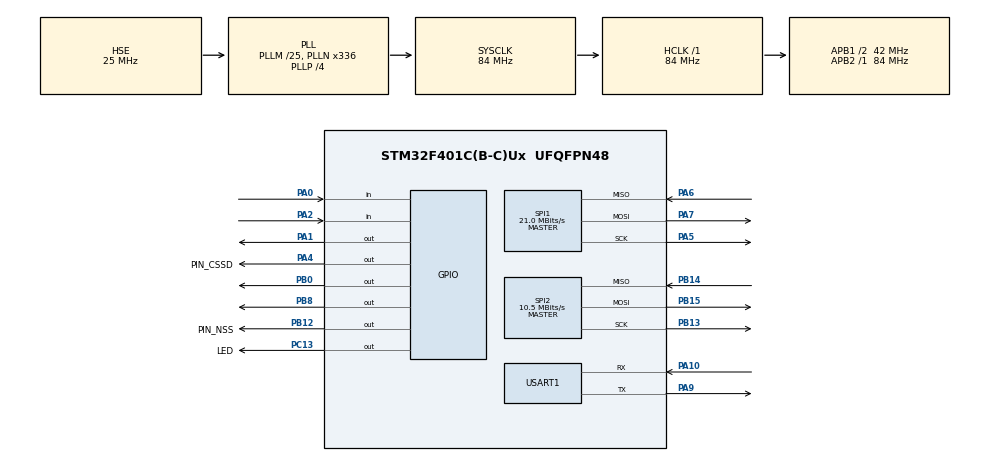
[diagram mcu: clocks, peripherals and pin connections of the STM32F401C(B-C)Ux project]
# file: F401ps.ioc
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Dma.Request0=SPI1_TX
Dma.Request1=SPI1_RX
Dma.SPI1_RX.1.Direction=DMA_PERIPH_TO_MEMORY
Dma.SPI1_RX.1.FIFOMode=DMA_FIFOMODE_DISABLE
Dma.SPI1_RX.1.Instance=DMA2_Stream0
Dma.SPI1_RX.1.MemDataAlignment=DMA_MDATAALIGN_BYTE
Dma.SPI1_RX.1.MemInc=DMA_MINC_ENABLE
Dma.SPI1_RX.1.Mode=DMA_NORMAL
Dma.SPI1_RX.1.PeriphDataAlignment=DMA_PDATAALIGN_BYTE
Dma.SPI1_RX.1.PeriphInc=DMA_PINC_DISABLE
Dma.SPI1_RX.1.Priority=DMA_PRIORITY_LOW
Dma.SPI1_TX.0.Direction=DMA_MEMORY_TO_PERIPH
Dma.SPI1_TX.0.FIFOMode=DMA_FIFOMODE_DISABLE
Dma.SPI1_TX.0.Instance=DMA2_Stream3
Dma.SPI1_TX.0.MemDataAlignment=DMA_MDATAALIGN_BYTE
Dma.SPI1_TX.0.MemInc=DMA_MINC_ENABLE
Dma.SPI1_TX.0.Mode=DMA_NORMAL
Dma.SPI1_TX.0.PeriphDataAlignment=DMA_PDATAALIGN_BYTE
Dma.SPI1_TX.0.PeriphInc=DMA_PINC_DISABLE
Dma.SPI1_TX.0.Priority=DMA_PRIORITY_LOW
FATFS._CODE_PAGE=437
FATFS._FS_TINY=1
FATFS._USE_LFN=1
FATFS._USE_STRFUNC=2
Mcu.Family=STM32F4
Mcu.Name=STM32F401C(B-C)Ux
Mcu.Package=UFQFPN48
NVIC.DMA2_Stream0_IRQn=true\:0\:0\:false\:false\:true\:false\:true
NVIC.DMA2_Stream3_IRQn=true\:0\:0\:false\:false\:true\:false\:true
NVIC.PriorityGroup=NVIC_PRIORITYGROUP_4
NVIC.SPI1_IRQn=true\:0\:0\:false\:false\:true\:true\:true
PA0-WKUP.GPIO_PuPd=GPIO_PULLUP
PA0-WKUP.Signal=GPIO_Input
PA1.GPIO_PuPd=GPIO_PULLUP
PA1.GPIO_Speed=GPIO_SPEED_FREQ_HIGH
PA1.PinState=GPIO_PIN_SET
PA1.Signal=GPIO_Output
PA10.GPIO_PuPd=GPIO_PULLUP
PA10.Mode=Asynchronous
PA10.Signal=USART1_RX
PA13.Mode=Serial_Wire
PA13.Signal=SYS_JTMS-SWDIO
PA14.Mode=Serial_Wire
PA14.Signal=SYS_JTCK-SWCLK
PA2.GPIO_PuPd=GPIO_PULLUP
PA2.Signal=GPIO_Input
PA4.GPIO_Label=PIN_CSSD
PA4.GPIO_PuPd=GPIO_PULLUP
PA4.GPIO_Speed=GPIO_SPEED_FREQ_HIGH
PA4.PinState=GPIO_PIN_SET
PA4.Signal=GPIO_Output
PA5.Mode=Full_Duplex_Master
PA5.Signal=SPI1_SCK
PA6.Mode=Full_Duplex_Master
PA6.Signal=SPI1_MISO
PA7.Mode=Full_Duplex_Master
PA7.Signal=SPI1_MOSI
PA9.GPIO_PuPd=GPIO_PULLUP
PA9.Mode=Asynchronous
PA9.Signal=USART1_TX
PB0.GPIO_Speed=GPIO_SPEED_FREQ_VERY_HIGH
PB0.PinState=GPIO_PIN_SET
PB0.Signal=GPIO_Output
PB12.GPIO_Label=PIN_NSS
PB12.GPIO_PuPd=GPIO_PULLUP
PB12.GPIO_Speed=GPIO_SPEED_FREQ_HIGH
PB12.PinState=GPIO_PIN_SET
PB12.Signal=GPIO_Output
PB13.Mode=Full_Duplex_Master
PB13.Signal=SPI2_SCK
PB14.Mode=Full_Duplex_Master
PB14.Signal=SPI2_MISO
PB15.Mode=Full_Duplex_Master
PB15.Signal=SPI2_MOSI
PB8.GPIO_PuPd=GPIO_PULLUP
PB8.GPIO_Speed=GPIO_SPEED_FREQ_VERY_HIGH
PB8.PinState=GPIO_PIN_SET
PB8.Signal=GPIO_Output
PC13-ANTI_TAMP.GPIO_Label=LED
PC13-ANTI_TAMP.Signal=GPIO_Output
PC14-OSC32_IN.Mode=LSE-External-Oscillator
PC14-OSC32_IN.Signal=RCC_OSC32_IN
PC15-OSC32_OUT.Mode=LSE-External-Oscillator
PC15-OSC32_OUT.Signal=RCC_OSC32_OUT
PH0\ -\ OSC_IN.Mode=HSE-External-Oscillator
PH0\ -\ OSC_IN.Signal=RCC_OSC_IN
PH1\ -\ OSC_OUT.Mode=HSE-External-Oscillator
PH1\ -\ OSC_OUT.Signal=RCC_OSC_OUT
ProjectManager.HeapSize=0x1000
ProjectManager.StackSize=0x1000
ProjectManager.TargetToolchain=STM32CubeIDE
RCC.48MHZClocksFreq_Value=48000000
RCC.AHBFreq_Value=84000000
RCC.APB1CLKDivider=RCC_HCLK_DIV2
RCC.APB1Freq_Value=42000000
RCC.APB1TimFreq_Value=84000000
RCC.APB2Freq_Value=84000000
RCC.APB2TimFreq_Value=84000000
RCC.CortexFreq_Value=84000000
RCC.HCLKFreq_Value=84000000
RCC.HSE_VALUE=25000000
RCC.HSI_VALUE=16000000
RCC.PLLM=25
RCC.PLLN=336
RCC.PLLP=RCC_PLLP_DIV4
RCC.PLLQ=7
RCC.PLLSourceVirtual=RCC_PLLSOURCE_HSE
RCC.RCC_MCO1Source=RCC_MCO1SOURCE_HSE
RCC.RCC_MCODiv1=RCC_MCODIV_4
RCC.SYSCLKFreq_VALUE=84000000
RCC.SYSCLKSource=RCC_SYSCLKSOURCE_PLLCLK
RCC.VCOOutputFreq_Value=336000000
SPI1.BaudRatePrescaler=SPI_BAUDRATEPRESCALER_4
SPI1.CalculateBaudRate=21.0 MBits/s
SPI1.Direction=SPI_DIRECTION_2LINES
SPI1.Mode=SPI_MODE_MASTER
SPI1.VirtualType=VM_MASTER
SPI2.BaudRatePrescaler=SPI_BAUDRATEPRESCALER_4
SPI2.CalculateBaudRate=10.5 MBits/s
SPI2.Direction=SPI_DIRECTION_2LINES
SPI2.Mode=SPI_MODE_MASTER
SPI2.VirtualType=VM_MASTER
USART1.VirtualMode=VM_ASYNC
VP_FATFS_VS_Generic.Mode=User_defined
board=custom

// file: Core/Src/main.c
/* USER CODE BEGIN Header */
/**
  ******************************************************************************
  * @file           : main.c
  * @brief          : Main program body
  ******************************************************************************
  * @attention
  *
  * Copyright (c) 2022 STMicroelectronics.
  * All rights reserved.
  *
  * This software is licensed under terms that can be found in the LICENSE file
  * in the root directory of this software component.
  * If no LICENSE file comes with this software, it is provided AS-IS.
  *
  ******************************************************************************
  */
/* USER CODE END Header */
#include "main.h"
#include "dma.h"
#include "fatfs.h"
#include "spi.h"
#include "usart.h"
#include "gpio.h"

/* USER CODE BEGIN Includes */
#include "pins.h"
#include "osd.h"
#include "sdCard.h"
#include "fileBrowser.h"
#include "passiveSerial.h"

/* USER CODE END Includes */

/* USER CODE BEGIN PD */
//#define BUFFER_SIZE 4096
#define CORE_NAME_SIZE 64

/* USER CODE END PD */

/* USER CODE BEGIN PV */
const unsigned char version[4] = "2033";
unsigned char ret;
unsigned char last_ret;
char dbgstr[256];
static char buffer[512];
char core_name[CORE_NAME_SIZE];
char currentPath[256];
char image_filename[LONG_FILENAME_LEN] = { "" };
char load_data[LONG_FILENAME_LEN] = { "" };
//FATFS SDFatFs;
FATFS fs;
myListEntry myFileList[64];
char tableName[64*(128)];

int event;
unsigned char key;
unsigned char cmd;
int currentLine = 0;
char selectFileName[256];

/* USER CODE END PV */

void SystemClock_Config(void);
/* USER CODE BEGIN PFP */
uint8_t waitACK (void);
void noticeVersion(void);
void initialData( void );
void splashScreen();
int readKeyboard(unsigned char *key, unsigned char *cmd);

//void SendStatusWord32(long statusWord);

/* USER CODE END PFP */

int main(void)
{

  /* MCU Configuration--------------------------------------------------------*/

  /* Reset of all peripherals, Initializes the Flash interface and the Systick. */
  HAL_Init();

  /* Configure the system clock */
  SystemClock_Config();

  /* Initialize all configured peripherals */
  MX_GPIO_Init();
  MX_USART1_UART_Init();
  MX_SPI1_Init();
  MX_SPI2_Init();
  MX_DMA_Init();
  MX_FATFS_Init();
  /* USER CODE BEGIN 2 */
  uint16_t lenName;
  uint8_t maxFiles;
  int16_t showFirst = 0;
  dbgprintf("\n~ SPI by Imax9 ~\n");

//  for(uint16_t i=0;i<100;i++){
//	HAL_GPIO_WritePin(GPIOB, GPIO_PIN_0|GPIO_PIN_1|GPIO_PIN_2, GPIO_PIN_SET);
//	HAL_GPIO_WritePin(LED_GPIO_Port, LED_Pin, GPIO_PIN_SET);
//	HAL_Delay(10);
//	HAL_GPIO_WritePin(GPIOB, GPIO_PIN_0|GPIO_PIN_1|GPIO_PIN_2, GPIO_PIN_RESET);
//	HAL_GPIO_WritePin(LED_GPIO_Port, LED_Pin, GPIO_PIN_RESET);
//	HAL_Delay(10);
//  }
  noticeVersion();
  initializeSdCard();
  dbgprintf("Pause1s\n");
  HAL_Delay(1000);
  strcpy(currentPath,"//core.np2");

  if (waitACK())
	  program_FPGA_PS(currentPath);
  initialData( );
  initOSD();
  splashScreen();
  //removeOSD();

  /* USER CODE END 2 */

  /* Infinite loop */
  /* USER CODE BEGIN WHILE */

	strcpy(currentPath,"/");
	maxFiles = buildCat(currentPath);
	//maxFiles = countFiles();
	showList(0,0);
//	buildCat("//ORDENADORES");
//	showList(0,0);
  while (1)
  {
	event = readKeyboard( &key, &cmd );
	 if ( event == EVENT_KEYPRESS ) {
		 switch ( key ) {
		 	 case KEY_UP: // up
		 		 dbgprintf("Key UP\n");
		 		 currentLine --;
		        if ( currentLine < 0 ) {
		        	currentLine = 0;
		        }
		        if((currentLine-showFirst)<0)
		        	showFirst-=8;
		    break;

		 	case KEY_LFT: // left
		 		showFirst-=8;
		 		if(showFirst<0)
		 			showFirst+=8;
		 		currentLine = showFirst;
		 	break;

		 	case KEY_DOW:
		 		dbgprintf("Key DOWN\n");
		 		currentLine ++;
		 		if (currentLine>maxFiles)
		 			currentLine=maxFiles;
		 		if((currentLine-showFirst)>7)
		 			showFirst+=8;
		 	break;

		 	case KEY_RGT: // right
		 		showFirst+=8;
		 		if(showFirst>maxFiles)
		 			showFirst-=8;
		 		currentLine = showFirst;
		 	break;

		 	case KEY_RET:
		 		lenName = myFileList[currentLine].lenName;
		 		if(!lenName){
		 			dbgprintf("Error zero lenname");
		 			break;
		 		}
		 		uint16_t offsetName = myFileList[currentLine].offsetName;
		 		uint8_t j=0;
		 		for(j=0;j<lenName;j++){
		 			selectFileName[j] = tableName[offsetName+j];
		 		}
		 		selectFileName[j]=0;
		 		dbgprintf("Select %s\n",selectFileName);
		 		if(myFileList[currentLine].typeFile == PAR_TYPE){
		 			dbgprintf("Current path: %s\n",currentPath);
		 			uint8_t size = strlen(currentPath)-1;
		 			while (size>1){
		 				if(currentPath[size] == 47)
		 					break;
		 				currentPath[size] = 0;
		 				size--;

		 			}
		 			currentPath[size] = 0;
		 			dbgprintf("Parent path: %s\n",currentPath);
		 			maxFiles = buildCat(currentPath);
		 			//maxFiles = countFiles();
		 			currentLine = 0;
		 		}
		 		else if(myFileList[currentLine].typeFile == DIR_TYPE){
		 			strcat(currentPath,"/");
		 			strcat(currentPath,selectFileName);
		 			dbgprintf("Key Enter path: %s\n",currentPath);
		 			maxFiles = buildCat(currentPath);
		 			//maxFiles = countFiles();
		 			currentLine = showFirst = 0;
		 		}
		 		else if(myFileList[currentLine].typeFile == FIL_TYPE){
		 			dbgprintf("File: %s to FPGA\n",selectFileName);
		 			strcat(currentPath,"/");
		 			strcat(currentPath,selectFileName);
		 			program_FPGA_PS(currentPath);
		 		}

		 		//currentLine = 0;
		 	break;

		 	case KEY_NOTHING: // nothing was pressed
		 	break;

		 	default:
		 	dbgprintf("Unrecognized key pressed: '%d'\n", key );
		 	break;
		 }
		 showList(currentLine,showFirst);
	 }
    /* USER CODE END WHILE */

    /* USER CODE BEGIN 3 */
	HAL_Delay(100);
  }
  /* USER CODE END 3 */
}

void SystemClock_Config(void)
{
  RCC_OscInitTypeDef RCC_OscInitStruct = {0};
  RCC_ClkInitTypeDef RCC_ClkInitStruct = {0};

  /** Configure the main internal regulator output voltage
  */
  __HAL_RCC_PWR_CLK_ENABLE();
  __HAL_PWR_VOLTAGESCALING_CONFIG(PWR_REGULATOR_VOLTAGE_SCALE2);
  /** Initializes the RCC Oscillators according to the specified parameters
  * in the RCC_OscInitTypeDef structure.
  */
  RCC_OscInitStruct.OscillatorType = RCC_OSCILLATORTYPE_HSE;
  RCC_OscInitStruct.HSEState = RCC_HSE_ON;
  RCC_OscInitStruct.PLL.PLLState = RCC_PLL_ON;
  RCC_OscInitStruct.PLL.PLLSource = RCC_PLLSOURCE_HSE;
  RCC_OscInitStruct.PLL.PLLM = 25;
  RCC_OscInitStruct.PLL.PLLN = 336;
  RCC_OscInitStruct.PLL.PLLP = RCC_PLLP_DIV4;
  RCC_OscInitStruct.PLL.PLLQ = 7;
  if (HAL_RCC_OscConfig(&RCC_OscInitStruct) != HAL_OK)
  {
    Error_Handler();
  }
  /** Initializes the CPU, AHB and APB buses clocks
  */
  RCC_ClkInitStruct.ClockType = RCC_CLOCKTYPE_HCLK|RCC_CLOCKTYPE_SYSCLK
                              |RCC_CLOCKTYPE_PCLK1|RCC_CLOCKTYPE_PCLK2;
  RCC_ClkInitStruct.SYSCLKSource = RCC_SYSCLKSOURCE_PLLCLK;
  RCC_ClkInitStruct.AHBCLKDivider = RCC_SYSCLK_DIV1;
  RCC_ClkInitStruct.APB1CLKDivider = RCC_HCLK_DIV2;
  RCC_ClkInitStruct.APB2CLKDivider = RCC_HCLK_DIV1;

  if (HAL_RCC_ClockConfig(&RCC_ClkInitStruct, FLASH_LATENCY_2) != HAL_OK)
  {
    Error_Handler();
  }
}

/* USER CODE BEGIN 4 */
void dbgprintf(const char *fmt, ...) {
  va_list args;
  va_start(args, fmt);
  vsnprintf(buffer, sizeof(buffer), fmt, args);
  va_end(args);
  int len = strlen(buffer);
//  while (HAL_UART_GetState(&huart2) != HAL_UART_STATE_READY){
//	  __NOP();
//  }
  HAL_UART_Transmit(&huart1, (uint8_t*)buffer, len,100);
//  while (HAL_UART_GetState(&huart2) != HAL_UART_STATE_READY){
//  	  __NOP();
//    }
}
uint8_t waitACK (void)
{
	uint8_t data=0;
	uint32_t timeWait=HAL_GetTick()+1000;
  SPI_DESELECTED();
  // syncronize and clear the SPI buffers
  // wait for command acknoledge
  while ( ret != 'K' ) {
    SPI_SELECTED();
    // clear the SPI buffers
    HAL_SPI_TransmitReceive(&spiFPGA,&data,&ret,1,100);

    // wait a little to receive the last bit
    HAL_Delay(100);
    if (HAL_GetTick()>timeWait){
    	SPI_DESELECTED();
    	return 1;
    }
    // ensure SS stays high for now
    SPI_DESELECTED();

    if ( last_ret != ret ) {
      last_ret = ret;
    }
  }
  return 0;
}

void noticeVersion() {
  dbgprintf("SPI version: %c %c %c %c\n", version[0], version[1], version[2], version[3]);
  //Log.notice( "SdFat version: %s"CR, SD_FAT_VERSION_STR );
  //Log.notice( "SdFat support: %s"CR, SDFAT_FILE_TYPE_STR );
  dbgprintf("SdFat support: %s\n", SDFAT_FILE_TYPE_STR);
}

void initialData( void ) {
  // config buffer - 16 bytes
  spi_osd_cmd_cont(0x60); //cmd to fill the config buffer

  for (int i = 1; i <= 13; i++){
	  spi8(0xFF);
  }
  //last bytes as STM version
  spi8(version[2] - '0');
  spi8(version[1] - '0');
  spi8(version[0] - '0');

  DisableOsdSPI();

  strcpy(core_name, "");
  strcpy(load_data, "");
  strcpy(image_filename, "");
}

void splashScreen() {
  OsdClear();
  OsdWriteOffset( 3, SPLASH, 0, 0, 0, 0 );
  //Log.notice(CR"%s"CR CR, SPLASH);
  dbgprintf("\n%s\n",SPLASH);
#ifndef DISABLE_SPLASH_DELAY
  HAL_Delay(3000);
#endif
}

/* USER CODE END 4 */

void Error_Handler(void)
{
  __disable_irq();
  while (1)
  {
  }
}
